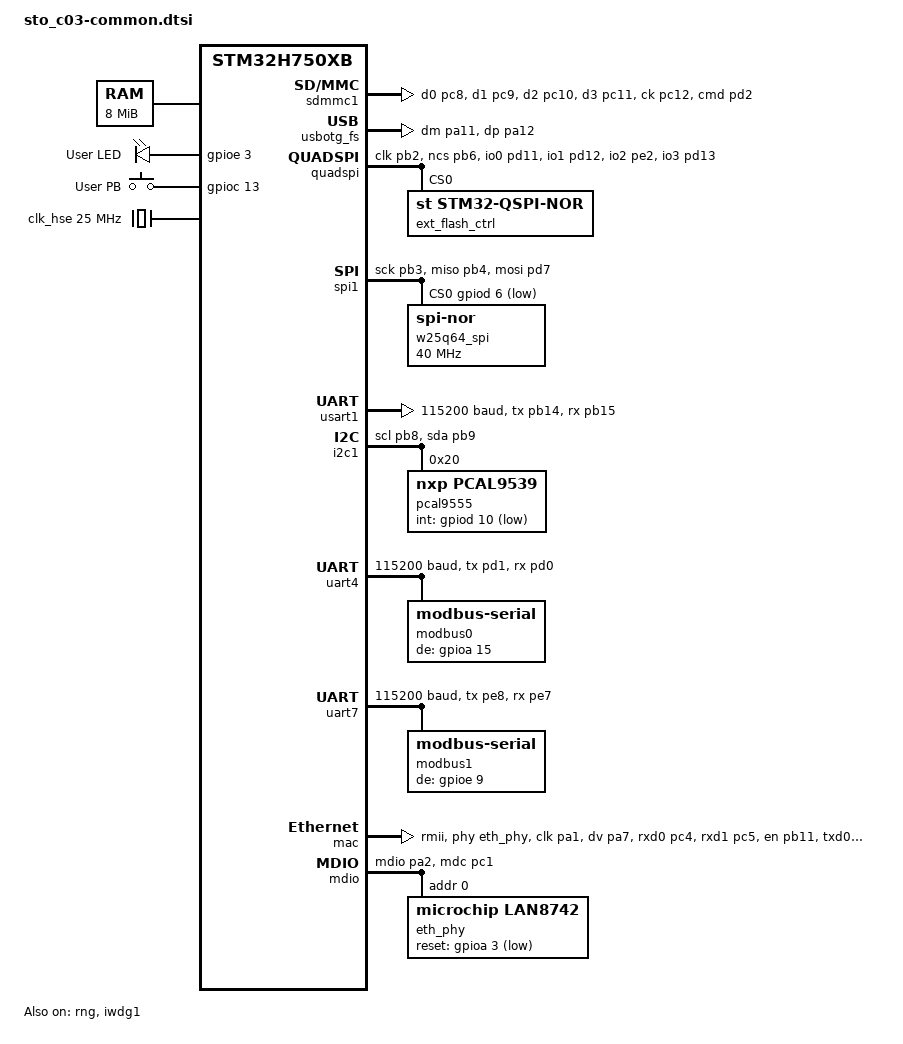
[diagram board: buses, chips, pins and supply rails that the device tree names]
/*
 * SPDX-FileCopyrightText: Copyright The Zephyr Project Contributors
 *
 * SPDX-License-Identifier: Apache-2.0
 */

#include <st/h7/stm32h750Xb.dtsi>
#include <st/h7/stm32h750vbtx-pinctrl.dtsi>

/ {
	chosen {
		zephyr,console = &usart1;
		zephyr,shell-uart = &usart1;
		zephyr,sram = &sram0;
	};

	ext_flash_mem: memory@90000000 {
		compatible = "zephyr,memory-region";
		reg = <0x90000000 DT_SIZE_M(8)>; /* 8MB */
		zephyr,memory-region = "EXT_FLASH";
		zephyr,memory-attr = <DT_MEM_ARM_MPU_FLASH>;
	};

	leds {
		compatible = "gpio-leds";

		user_led: led {
			gpios = <&gpioe 3 GPIO_ACTIVE_HIGH>;
			label = "User LED";
		};
	};

	gpio_keys {
		compatible = "gpio-keys";

		user_button: button {
			label = "User PB";
			gpios = <&gpioc 13 (GPIO_ACTIVE_HIGH | GPIO_PULL_DOWN)>;
		};
	};

	aliases {
		led0 = &user_led;
		sw0 = &user_button;
		watchdog0 = &iwdg;
		sdhc0 = &sdmmc1;
		mcuboot-button0 = &user_button;
		modbus-0 = &modbus0;
		modbus-1 = &modbus1;
	};
};

&flash0 {
	status = "okay";
};

&clk_lsi {
	status = "okay";
};

&clk_hsi48 {
	status = "okay";
};

&clk_hse {
	clock-frequency = <DT_FREQ_M(25)>;
	status = "okay";
};

&pll {
	div-m = <5>;
	mul-n = <192>;
	div-p = <2>;
	div-q = <4>;
	div-r = <2>;
	clocks = <&clk_hse>;
	status = "okay";
};

&rcc {
	clocks = <&pll>;
	clock-frequency = <DT_FREQ_M(480)>;
	d1cpre = <1>;
	hpre = <2>;
	d1ppre = <2>;
	d2ppre1 = <2>;
	d2ppre2 = <2>;
	d3ppre = <2>;
};

&pwr {
	power-supply = "ldo";
};

&sdmmc1 {
	pinctrl-0 = <&sdmmc1_d0_pc8 &sdmmc1_d1_pc9
		     &sdmmc1_d2_pc10 &sdmmc1_d3_pc11
		     &sdmmc1_ck_pc12 &sdmmc1_cmd_pd2>;
	pinctrl-names = "default";
	cd-gpios = <&gpiod 4 (GPIO_ACTIVE_HIGH | GPIO_PULL_UP)>;
	disk-name = "SD";
	status = "okay";
};

zephyr_udc0: &usbotg_fs {
	pinctrl-0 = <&usb_otg_fs_dm_pa11 &usb_otg_fs_dp_pa12>;
	pinctrl-names = "default";
	status = "okay";
};

&quadspi {
	pinctrl-names = "default";
	pinctrl-0 = <&quadspi_clk_pb2 &quadspi_bk1_ncs_pb6
		     &quadspi_bk1_io0_pd11 &quadspi_bk1_io1_pd12
		     &quadspi_bk1_io2_pe2 &quadspi_bk1_io3_pd13>;
	status = "okay";

	ext_flash_ctrl: qspi-flash-controller@0 {
		compatible = "st,stm32-qspi-nor";
		reg = <0>;
		size = <DT_SIZE_M(64)>; /* 64 Mbits */
		qspi-max-frequency = <100000000>;
		cs-high-time = <2>; /* >= 50 ns */
		status = "okay";
		spi-bus-width = <4>;
		writeoc = "PP_1_1_4";
		reset-cmd;
		reset-cmd-wait = <2000>;

		#address-cells = <1>;
		#size-cells = <1>;
		ranges = <0x0 0x90000000 DT_SIZE_M(8)>;

		ext_flash: w25q64_qspi: ext-flash@0 {
			compatible = "soc-nv-flash";
			reg = <0x0 DT_SIZE_M(8)>; /* 8MB */
			write-block-size = <1>;
			erase-block-size = <DT_SIZE_K(4)>;

			partitions {
				compatible = "fixed-partitions";
				#address-cells = <1>;
				#size-cells = <1>;
			};
		};
	};
};

&spi1 {
	pinctrl-0 = <&spi1_sck_pb3 &spi1_miso_pb4 &spi1_mosi_pd7>;
	cs-gpios = <&gpiod 6 GPIO_ACTIVE_LOW>;
	pinctrl-names = "default";
	status = "okay";

	w25q64_spi: spi-nor-flash@0 {
		compatible = "jedec,spi-nor";
		reg = <0>;
		spi-max-frequency = <40000000>;
		size = <DT_SIZE_M(64)>; /* 64 Mbits */
		status = "okay";
		jedec-id = [ef 40 17];
		has-dpd;
		t-enter-dpd = <3500>;
		t-exit-dpd = <3500>;
	};
};

&gpioe {
	status = "okay";
};

&rng {
	status = "okay";
};

&backup_sram {
	status = "okay";
};

&iwdg1 {
	status = "okay";
};

&usart1 {
	pinctrl-0 = <&usart1_tx_pb14 &usart1_rx_pb15>;
	pinctrl-names = "default";
	current-speed = <115200>;
	status = "okay";
};

&i2c1 {
	pinctrl-0 = <&i2c1_scl_pb8 &i2c1_sda_pb9>;
	pinctrl-names = "default";
	status = "okay";

	pcal9555: pcal9555@20 {
		compatible = "nxp,pcal9539";
		reg = <0x20>;
		gpio-controller;
		#gpio-cells = <2>;
		ngpios = <16>;
		int-gpios = <&gpiod 10 GPIO_ACTIVE_LOW>;
	};
};

&uart4 {
	pinctrl-0 = <&uart4_tx_pd1 &uart4_rx_pd0>;
	pinctrl-names = "default";
	current-speed = <115200>;
	status = "okay";

	modbus0: modbus {
		compatible = "zephyr,modbus-serial";
		de-gpios = <&gpioa 15 GPIO_ACTIVE_HIGH>;
	};
};

&uart7 {
	pinctrl-0 = <&uart7_tx_pe8 &uart7_rx_pe7>;
	pinctrl-names = "default";
	current-speed = <115200>;
	status = "okay";

	modbus1: modbus {
		compatible = "zephyr,modbus-serial";
		de-gpios = <&gpioe 9 GPIO_ACTIVE_HIGH>;
	};
};

/* RMII: PA1=REF_CLK, PA7=CRS_DV, PB11=TX_EN, PB12=TXD0, PB13=TXD1,
 *       PC4=RXD0, PC5=RXD1, PA2=MDIO, PC1=MDC
 */
&mac {
	status = "okay";
	pinctrl-0 = <&eth_ref_clk_pa1
		     &eth_crs_dv_pa7
		     &eth_rxd0_pc4
		     &eth_rxd1_pc5
		     &eth_tx_en_pb11
		     &eth_txd0_pb12
		     &eth_txd1_pb13>;
	pinctrl-names = "default";
	phy-connection-type = "rmii";
	phy-handle = <&eth_phy>;
};

&mdio {
	status = "okay";
	pinctrl-0 = <&eth_mdio_pa2 &eth_mdc_pc1>;
	pinctrl-names = "default";

	/* Generic RMII PHY at address 0 (e.g. LAN8720A with PHYAD0=GND) */
	/*
	eth_phy: ethernet-phy@0 {
		compatible = "ethernet-phy";
		reg = <0>;
		status = "okay";
	};
	*/

	eth_phy: ethernet-phy@0 {
		compatible = "microchip,lan8742";
		reg = <0>;
		reset-gpios = <&gpioa 3 GPIO_ACTIVE_LOW>;
		default-speeds = "100BASE Full-Duplex";
	};
};
